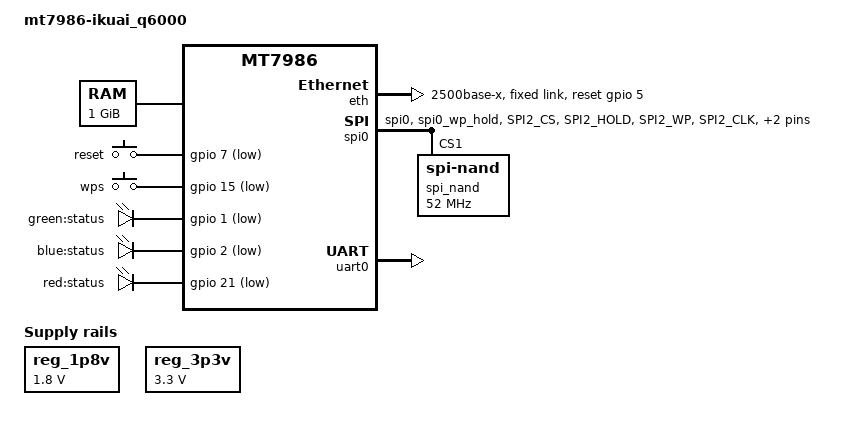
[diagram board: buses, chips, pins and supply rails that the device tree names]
// SPDX-License-Identifier: (GPL-2.0-only OR MIT)

/dts-v1/;
#include "mt7986.dtsi"
#include <dt-bindings/gpio/gpio.h>
#include <dt-bindings/input/linux-event-codes.h>

/ {
	#address-cells = <1>;
	#size-cells = <1>;
	model = "mt7986-ikuai_q6000";
	compatible = "mediatek,mt7986", "mediatek,mt7986-rfb";

	chosen {
		stdout-path = &uart0;
		tick-timer = &timer0;
	};

	config {
		bootcmd = "mtkboardboot";
		blink_led = "red:status";
		system_led = "green:status";
	};

	memory@40000000 {
		device_type = "memory";
		reg = <0x40000000 0x40000000>;
	};
	
    gpio-keys {
 		compatible = "gpio-keys";

 		reset-button {
 			label = "reset";
 			linux,code = <KEY_RESTART>;
			gpios = <&gpio 7 GPIO_ACTIVE_LOW>;
 		};

		wps-button {
 			label = "wps";
 			linux,code = <KEY_WPS_BUTTON>;
 			gpios = <&gpio 15 GPIO_ACTIVE_LOW>;
 		};
 	};

	gpio-leds {
		compatible = "gpio-leds";

		green_led: led-0 {
 			label = "green:status";
 			gpios = <&gpio 1 GPIO_ACTIVE_LOW>;
 		};

 		blue_led: led-1 {
 			label = "blue:status";
 			gpios = <&gpio 2 GPIO_ACTIVE_LOW>;
 		};
 			
		red_led: led-2 {
 			label = "red:status";
			gpios = <&gpio 21 GPIO_ACTIVE_LOW>;
 		};
	};

	reg_1p8v: regulator-1p8v {
		compatible = "regulator-fixed";
		regulator-name = "fixed-1.8V";
		regulator-min-microvolt = <1800000>;
		regulator-max-microvolt = <1800000>;
		regulator-boot-on;
		regulator-always-on;
	};

	reg_3p3v: regulator-3p3v {
		compatible = "regulator-fixed";
		regulator-name = "fixed-3.3V";
		regulator-min-microvolt = <3300000>;
		regulator-max-microvolt = <3300000>;
		regulator-boot-on;
		regulator-always-on;
	};

	bl2_verify {
		bl2_compatible = "spim-nand";
	};
};

&eth {
	status = "okay";
	mediatek,gmac-id = <0>;
	phy-mode = "2500base-x";
	mediatek,switch = "mt7531";
	reset-gpios = <&gpio 5 GPIO_ACTIVE_HIGH>;

	fixed-link {
		speed = <2500>;
		full-duplex;
	};
};

&pinctrl {
	spi_flash_pins: spi0-pins-func-1 {
		mux {
			function = "flash";
			groups = "spi0", "spi0_wp_hold";
		};

		conf-pu {
			pins = "SPI2_CS", "SPI2_HOLD", "SPI2_WP";
			drive-strength = <MTK_DRIVE_8mA>;
			bias-pull-up = <MTK_PUPD_SET_R1R0_00>;
		};

		conf-pd {
			pins = "SPI2_CLK", "SPI2_MOSI", "SPI2_MISO";
			drive-strength = <MTK_DRIVE_8mA>;
			bias-pull-down = <MTK_PUPD_SET_R1R0_00>;
		};
	};
};

&spi0 {
	#address-cells = <1>;
	#size-cells = <0>;
	pinctrl-names = "default";
	pinctrl-0 = <&spi_flash_pins>;
	status = "okay";
	must_tx;
	enhance_timing;
	dma_ext;
	ipm_design;
	support_quad;
	tick_dly = <2>;
	sample_sel = <0>;

	spi_nand@0 {
		compatible = "spi-nand";
		reg = <1>;
		spi-max-frequency = <52000000>;
	};
};

&uart0 {
	status = "okay";
};

&watchdog {
	status = "disabled";
};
